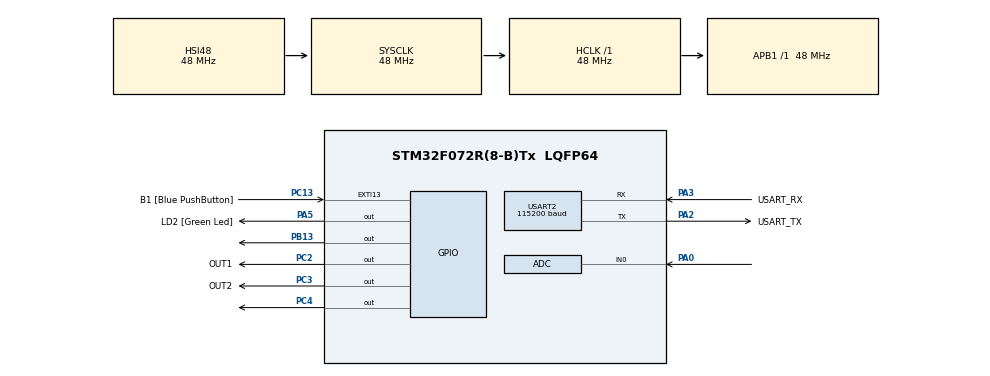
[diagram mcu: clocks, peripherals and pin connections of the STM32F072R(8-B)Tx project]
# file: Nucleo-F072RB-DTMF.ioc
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ADC.ClockPrescaler=ADC_CLOCK_ASYNC_DIV1
ADC.ContinuousConvMode=ENABLE
ADC.DMAContinuousRequests=ENABLE
ADC.DataAlign=ADC_DATAALIGN_RIGHT
ADC.DiscontinuousConvMode=DISABLE
ADC.EOCSelection=ADC_EOC_SINGLE_CONV
ADC.EnableAnalogWatchDog=false
ADC.ExternalTrigConv=ADC_SOFTWARE_START
ADC.ExternalTrigConvEdge=ADC_EXTERNALTRIGCONVEDGE_NONE
ADC.LowPowerAutoPowerOff=DISABLE
ADC.LowPowerAutoWait=DISABLE
ADC.Overrun=ADC_OVR_DATA_OVERWRITTEN
ADC.Resolution=ADC_RESOLUTION_12B
ADC.SamplingTime=ADC_SAMPLETIME_71CYCLES_5
ADC.ScanConvMode=ADC_SCAN_DIRECTION_BACKWARD
Dma.ADC.0.Direction=DMA_PERIPH_TO_MEMORY
Dma.ADC.0.Instance=DMA1_Channel1
Dma.ADC.0.MemDataAlignment=DMA_MDATAALIGN_HALFWORD
Dma.ADC.0.MemInc=DMA_MINC_ENABLE
Dma.ADC.0.Mode=DMA_CIRCULAR
Dma.ADC.0.PeriphDataAlignment=DMA_PDATAALIGN_HALFWORD
Dma.ADC.0.PeriphInc=DMA_PINC_DISABLE
Dma.ADC.0.Priority=DMA_PRIORITY_HIGH
Dma.Request0=ADC
Mcu.Family=STM32F0
Mcu.Name=STM32F072R(8-B)Tx
Mcu.Package=LQFP64
NVIC.DMA1_Channel1_IRQn=true\:0\:0\:false\:false\:true\:false
NVIC.TIM7_IRQn=true\:0\:0\:false\:false\:true\:true
PA0.Mode=IN0
PA0.Signal=ADC_IN0
PA13.GPIO_Label=TMS
PA13.Mode=Serial_Wire
PA13.Signal=SYS_SWDIO
PA14.GPIO_Label=TCK
PA14.Mode=Serial_Wire
PA14.Signal=SYS_SWCLK
PA2.GPIO_Label=USART_TX
PA2.GPIO_Mode=GPIO_MODE_AF_PP
PA2.GPIO_PuPd=GPIO_NOPULL
PA2.GPIO_Speed=GPIO_SPEED_FREQ_LOW
PA2.Mode=Asynchronous
PA2.Signal=USART2_TX
PA3.GPIO_Label=USART_RX
PA3.GPIO_Mode=GPIO_MODE_AF_PP
PA3.GPIO_PuPd=GPIO_NOPULL
PA3.GPIO_Speed=GPIO_SPEED_FREQ_LOW
PA3.Mode=Asynchronous
PA3.Signal=USART2_RX
PA5.GPIO_Label=LD2 [Green Led]
PA5.GPIO_Mode=GPIO_MODE_OUTPUT_PP
PA5.GPIO_PuPd=GPIO_NOPULL
PA5.GPIO_Speed=GPIO_SPEED_FREQ_LOW
PA5.Signal=GPIO_Output
PB13.Signal=GPIO_Output
PC13.GPIO_Label=B1 [Blue PushButton]
PC13.GPIO_ModeDefaultEXTI=GPIO_MODE_IT_FALLING
PC13.Signal=GPXTI13
PC14-OSC32_IN.Mode=LSE-External-Oscillator
PC14-OSC32_IN.Signal=RCC_OSC32_IN
PC15-OSC32_OUT.Mode=LSE-External-Oscillator
PC15-OSC32_OUT.Signal=RCC_OSC32_OUT
PC2.GPIO_Label=OUT1
PC2.GPIO_ModeDefaultOutputPP=GPIO_MODE_OUTPUT_OD
PC2.PinState=GPIO_PIN_SET
PC2.Signal=GPIO_Output
PC3.GPIO_Label=OUT2
PC3.GPIO_ModeDefaultOutputPP=GPIO_MODE_OUTPUT_OD
PC3.PinState=GPIO_PIN_SET
PC3.Signal=GPIO_Output
PC4.Signal=GPIO_Output
PF0-OSC_IN.Mode=HSE-External-Clock-Source
PF0-OSC_IN.Signal=RCC_OSC_IN
PF1-OSC_OUT.Signal=RCC_OSC_OUT
ProjectManager.HeapSize=0x200
ProjectManager.StackSize=0x400
ProjectManager.TargetToolchain=MDK-ARM V5
RCC.AHBFreq_Value=48000000
RCC.APB1Freq_Value=48000000
RCC.APB1TimFreq_Value=48000000
RCC.FLatency-AdvancedSettings=FLASH_LATENCY_1
RCC.HCLKFreq_Value=48000000
RCC.PLLDivider=RCC_PREDIV_DIV2
RCC.PLLMUL=RCC_PLL_MUL12
RCC.PREFETCH_ENABLE-AdvancedSettings=1
RCC.SYSCLKFreq_VALUE=48000000
RCC.SYSCLKSource=RCC_SYSCLKSOURCE_HSI48
TIM7.Period=999
TIM7.Prescaler=5
USART2.BaudRate=115200
USART2.VirtualMode=VM_ASYNC
USART2.VirtualMode-Asynchronous=VM_ASYNC
VP_TIM7_VS_ClockSourceINT.Mode=Enable_Timer
board=NUCLEO-F072RB

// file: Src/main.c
/**
  ******************************************************************************
  * @file           : main.c
  * @brief          : Main program body
  ******************************************************************************
  ** This notice applies to any and all portions of this file
  * that are not between comment pairs USER CODE BEGIN and
  * USER CODE END. Other portions of this file, whether
  * inserted by the user or by software development tools
  * are owned by their respective copyright owners.
  *
  * COPYRIGHT(c) 2018 STMicroelectronics
  *
  * Redistribution and use in source and binary forms, with or without modification,
  * are permitted provided that the following conditions are met:
  *   1. Redistributions of source code must retain the above copyright notice,
  *      this list of conditions and the following disclaimer.
  *   2. Redistributions in binary form must reproduce the above copyright notice,
  *      this list of conditions and the following disclaimer in the documentation
  *      and/or other materials provided with the distribution.
  *   3. Neither the name of STMicroelectronics nor the names of its contributors
  *      may be used to endorse or promote products derived from this software
  *      without specific prior written permission.
  *
  * THIS SOFTWARE IS PROVIDED BY THE COPYRIGHT HOLDERS AND CONTRIBUTORS "AS IS"
  * AND ANY EXPRESS OR IMPLIED WARRANTIES, INCLUDING, BUT NOT LIMITED TO, THE
  * IMPLIED WARRANTIES OF MERCHANTABILITY AND FITNESS FOR A PARTICULAR PURPOSE ARE
  * DISCLAIMED. IN NO EVENT SHALL THE COPYRIGHT HOLDER OR CONTRIBUTORS BE LIABLE
  * FOR ANY DIRECT, INDIRECT, INCIDENTAL, SPECIAL, EXEMPLARY, OR CONSEQUENTIAL
  * DAMAGES (INCLUDING, BUT NOT LIMITED TO, PROCUREMENT OF SUBSTITUTE GOODS OR
  * SERVICES; LOSS OF USE, DATA, OR PROFITS; OR BUSINESS INTERRUPTION) HOWEVER
  * CAUSED AND ON ANY THEORY OF LIABILITY, WHETHER IN CONTRACT, STRICT LIABILITY,
  * OR TORT (INCLUDING NEGLIGENCE OR OTHERWISE) ARISING IN ANY WAY OUT OF THE USE
  * OF THIS SOFTWARE, EVEN IF ADVISED OF THE POSSIBILITY OF SUCH DAMAGE.
  *
  ******************************************************************************
  */
#include "main.h"
#include "stm32f0xx_hal.h"

/* USER CODE BEGIN Includes */
#include <stdio.h>
#include "DTMF.h"
/* USER CODE END Includes */

ADC_HandleTypeDef hadc;
DMA_HandleTypeDef hdma_adc;

TIM_HandleTypeDef htim7;

UART_HandleTypeDef huart2;

/* USER CODE BEGIN PV */
/* Private variables ---------------------------------------------------------*/
/* Converted value declaration */

#define BUFLEN 4
volatile uint16_t aResultDMA[BUFLEN];

/*  DTMF Digit encoding */
static char DTMFchar[16] = {
  '1', '2', '3', 'A',
  '4', '5', '6', 'B',
  '7', '8', '9', 'C',
  '*', '0', '#', 'D',
};

/* USER CODE END PV */

void SystemClock_Config(void);
static void MX_GPIO_Init(void);
static void MX_DMA_Init(void);
static void MX_USART2_UART_Init(void);
static void MX_TIM7_Init(void);
static void MX_ADC_Init(void);

/* USER CODE BEGIN PFP */
/* Private function prototypes -----------------------------------------------*/

/* USER CODE END PFP */

/* USER CODE BEGIN 0 */
void actuateOutput(char dtmfcode)
{
	switch(dtmfcode){
		case '1' :
			HAL_GPIO_WritePin(OUT1_GPIO_Port, OUT1_Pin, GPIO_PIN_RESET);
			break;

		case '2' :
			HAL_GPIO_WritePin(OUT1_GPIO_Port, OUT1_Pin, GPIO_PIN_SET);
			break;

		case '4' :
			HAL_GPIO_WritePin(OUT2_GPIO_Port, OUT2_Pin, GPIO_PIN_RESET);
			break;

		case '5' :
			HAL_GPIO_WritePin(OUT2_GPIO_Port, OUT2_Pin, GPIO_PIN_SET);
			break;

		default:
			break;
	}
}
/* USER CODE END 0 */

int main(void)
{

  /* MCU Configuration----------------------------------------------------------*/

  /* Reset of all peripherals, Initializes the Flash interface and the Systick. */
  HAL_Init();

  /* Configure the system clock */
  SystemClock_Config();

  /* Initialize all configured peripherals */
  MX_GPIO_Init();
  MX_DMA_Init();
  MX_USART2_UART_Init();
  MX_TIM7_Init();
  MX_ADC_Init();
  /* USER CODE BEGIN 2 */

	printf("Welcome to DTMF decoder \r\n");

	/* Run ADC calibration */
	if(HAL_ADCEx_Calibration_Start(&hadc) != HAL_OK)
		while(1);

#ifdef USE_DMA
	/* Start ADC DMA */
	if(HAL_ADC_Start_DMA(&hadc, (uint32_t*)aResultDMA, BUFLEN) != HAL_OK)
		while(1);
#endif

	/* Start 8kHz timer */
	if(HAL_TIM_Base_Start_IT(&htim7) != HAL_OK)
		while(1);

  /* USER CODE END 2 */

  /* Infinite loop */
  while (1)
  {

  /* USER CODE BEGIN 3 */

		/* run DTMF decoder */
		if (dail1.AIindex >= dail1.AIcheck)  {
			DTMF_Detect (&dail1);
		}

		if (dail1.early)
			HAL_GPIO_WritePin(LD2_GPIO_Port, LD2_Pin, GPIO_PIN_SET);
		else
			HAL_GPIO_WritePin(LD2_GPIO_Port, LD2_Pin, GPIO_PIN_RESET);

		if (dail1.new){
			printf ("%c ", DTMFchar[dail1.digit & 0x0F]);
			actuateOutput(DTMFchar[dail1.digit & 0x0F]);
			dail1.new = 0;
		}
	}

  /* USER CODE END 3 */

}

void SystemClock_Config(void)
{

  RCC_OscInitTypeDef RCC_OscInitStruct;
  RCC_ClkInitTypeDef RCC_ClkInitStruct;
  RCC_PeriphCLKInitTypeDef PeriphClkInit;

    /**Initializes the CPU, AHB and APB busses clocks
    */
  RCC_OscInitStruct.OscillatorType = RCC_OSCILLATORTYPE_HSI14|RCC_OSCILLATORTYPE_HSI48;
  RCC_OscInitStruct.HSI48State = RCC_HSI48_ON;
  RCC_OscInitStruct.HSI14State = RCC_HSI14_ON;
  RCC_OscInitStruct.HSI14CalibrationValue = 16;
  RCC_OscInitStruct.PLL.PLLState = RCC_PLL_NONE;
  if (HAL_RCC_OscConfig(&RCC_OscInitStruct) != HAL_OK)
  {
    _Error_Handler(__FILE__, __LINE__);
  }

    /**Initializes the CPU, AHB and APB busses clocks
    */
  RCC_ClkInitStruct.ClockType = RCC_CLOCKTYPE_HCLK|RCC_CLOCKTYPE_SYSCLK
                              |RCC_CLOCKTYPE_PCLK1;
  RCC_ClkInitStruct.SYSCLKSource = RCC_SYSCLKSOURCE_HSI48;
  RCC_ClkInitStruct.AHBCLKDivider = RCC_SYSCLK_DIV1;
  RCC_ClkInitStruct.APB1CLKDivider = RCC_HCLK_DIV1;

  if (HAL_RCC_ClockConfig(&RCC_ClkInitStruct, FLASH_LATENCY_1) != HAL_OK)
  {
    _Error_Handler(__FILE__, __LINE__);
  }

  PeriphClkInit.PeriphClockSelection = RCC_PERIPHCLK_USART2;
  PeriphClkInit.Usart2ClockSelection = RCC_USART2CLKSOURCE_PCLK1;
  if (HAL_RCCEx_PeriphCLKConfig(&PeriphClkInit) != HAL_OK)
  {
    _Error_Handler(__FILE__, __LINE__);
  }

    /**Configure the Systick interrupt time
    */
  HAL_SYSTICK_Config(HAL_RCC_GetHCLKFreq()/1000);

    /**Configure the Systick
    */
  HAL_SYSTICK_CLKSourceConfig(SYSTICK_CLKSOURCE_HCLK);

  /* SysTick_IRQn interrupt configuration */
  HAL_NVIC_SetPriority(SysTick_IRQn, 0, 0);
}

/* ADC init function */
static void MX_ADC_Init(void)
{

  ADC_ChannelConfTypeDef sConfig;

    /**Configure the global features of the ADC (Clock, Resolution, Data Alignment and number of conversion)
    */
  hadc.Instance = ADC1;
  hadc.Init.ClockPrescaler = ADC_CLOCK_ASYNC_DIV1;
  hadc.Init.Resolution = ADC_RESOLUTION_12B;
  hadc.Init.DataAlign = ADC_DATAALIGN_RIGHT;
  hadc.Init.ScanConvMode = ADC_SCAN_DIRECTION_BACKWARD;
  hadc.Init.EOCSelection = ADC_EOC_SINGLE_CONV;
  hadc.Init.LowPowerAutoWait = DISABLE;
  hadc.Init.LowPowerAutoPowerOff = DISABLE;
  hadc.Init.ContinuousConvMode = ENABLE;
  hadc.Init.DiscontinuousConvMode = DISABLE;
  hadc.Init.ExternalTrigConv = ADC_SOFTWARE_START;
  hadc.Init.ExternalTrigConvEdge = ADC_EXTERNALTRIGCONVEDGE_NONE;
  hadc.Init.DMAContinuousRequests = ENABLE;
  hadc.Init.Overrun = ADC_OVR_DATA_OVERWRITTEN;
  if (HAL_ADC_Init(&hadc) != HAL_OK)
  {
    _Error_Handler(__FILE__, __LINE__);
  }

    /**Configure for the selected ADC regular channel to be converted.
    */
  sConfig.Channel = ADC_CHANNEL_0;
  sConfig.Rank = ADC_RANK_CHANNEL_NUMBER;
  sConfig.SamplingTime = ADC_SAMPLETIME_71CYCLES_5;
  if (HAL_ADC_ConfigChannel(&hadc, &sConfig) != HAL_OK)
  {
    _Error_Handler(__FILE__, __LINE__);
  }

}

/* TIM7 init function */
static void MX_TIM7_Init(void)
{

  TIM_MasterConfigTypeDef sMasterConfig;

  htim7.Instance = TIM7;
  htim7.Init.Prescaler = 5;
  htim7.Init.CounterMode = TIM_COUNTERMODE_UP;
  htim7.Init.Period = 999;
  htim7.Init.AutoReloadPreload = TIM_AUTORELOAD_PRELOAD_DISABLE;
  if (HAL_TIM_Base_Init(&htim7) != HAL_OK)
  {
    _Error_Handler(__FILE__, __LINE__);
  }

  sMasterConfig.MasterOutputTrigger = TIM_TRGO_RESET;
  sMasterConfig.MasterSlaveMode = TIM_MASTERSLAVEMODE_DISABLE;
  if (HAL_TIMEx_MasterConfigSynchronization(&htim7, &sMasterConfig) != HAL_OK)
  {
    _Error_Handler(__FILE__, __LINE__);
  }

}

/* USART2 init function */
static void MX_USART2_UART_Init(void)
{

  huart2.Instance = USART2;
  huart2.Init.BaudRate = 115200;
  huart2.Init.WordLength = UART_WORDLENGTH_8B;
  huart2.Init.StopBits = UART_STOPBITS_1;
  huart2.Init.Parity = UART_PARITY_NONE;
  huart2.Init.Mode = UART_MODE_TX_RX;
  huart2.Init.HwFlowCtl = UART_HWCONTROL_NONE;
  huart2.Init.OverSampling = UART_OVERSAMPLING_16;
  huart2.Init.OneBitSampling = UART_ONE_BIT_SAMPLE_DISABLE;
  huart2.AdvancedInit.AdvFeatureInit = UART_ADVFEATURE_NO_INIT;
  if (HAL_UART_Init(&huart2) != HAL_OK)
  {
    _Error_Handler(__FILE__, __LINE__);
  }

}

static void MX_DMA_Init(void)
{
  /* DMA controller clock enable */
  __HAL_RCC_DMA1_CLK_ENABLE();

  /* DMA interrupt init */
  /* DMA1_Channel1_IRQn interrupt configuration */
  HAL_NVIC_SetPriority(DMA1_Channel1_IRQn, 0, 0);
  HAL_NVIC_EnableIRQ(DMA1_Channel1_IRQn);

}

/** Configure pins as
        * Analog
        * Input
        * Output
        * EVENT_OUT
        * EXTI
*/
static void MX_GPIO_Init(void)
{

  GPIO_InitTypeDef GPIO_InitStruct;

  /* GPIO Ports Clock Enable */
  __HAL_RCC_GPIOC_CLK_ENABLE();
  __HAL_RCC_GPIOF_CLK_ENABLE();
  __HAL_RCC_GPIOA_CLK_ENABLE();
  __HAL_RCC_GPIOB_CLK_ENABLE();

  /*Configure GPIO pin Output Level */
  HAL_GPIO_WritePin(GPIOC, OUT1_Pin|OUT2_Pin, GPIO_PIN_SET);

  /*Configure GPIO pin Output Level */
  HAL_GPIO_WritePin(LD2_GPIO_Port, LD2_Pin, GPIO_PIN_RESET);

  /*Configure GPIO pin Output Level */
  HAL_GPIO_WritePin(GPIOC, GPIO_PIN_4, GPIO_PIN_RESET);

  /*Configure GPIO pin Output Level */
  HAL_GPIO_WritePin(GPIOB, GPIO_PIN_13, GPIO_PIN_RESET);

  /*Configure GPIO pin : B1_Pin */
  GPIO_InitStruct.Pin = B1_Pin;
  GPIO_InitStruct.Mode = GPIO_MODE_IT_FALLING;
  GPIO_InitStruct.Pull = GPIO_NOPULL;
  HAL_GPIO_Init(B1_GPIO_Port, &GPIO_InitStruct);

  /*Configure GPIO pins : OUT1_Pin OUT2_Pin */
  GPIO_InitStruct.Pin = OUT1_Pin|OUT2_Pin;
  GPIO_InitStruct.Mode = GPIO_MODE_OUTPUT_OD;
  GPIO_InitStruct.Pull = GPIO_NOPULL;
  GPIO_InitStruct.Speed = GPIO_SPEED_FREQ_LOW;
  HAL_GPIO_Init(GPIOC, &GPIO_InitStruct);

  /*Configure GPIO pin : LD2_Pin */
  GPIO_InitStruct.Pin = LD2_Pin;
  GPIO_InitStruct.Mode = GPIO_MODE_OUTPUT_PP;
  GPIO_InitStruct.Pull = GPIO_NOPULL;
  GPIO_InitStruct.Speed = GPIO_SPEED_FREQ_LOW;
  HAL_GPIO_Init(LD2_GPIO_Port, &GPIO_InitStruct);

  /*Configure GPIO pin : PC4 */
  GPIO_InitStruct.Pin = GPIO_PIN_4;
  GPIO_InitStruct.Mode = GPIO_MODE_OUTPUT_PP;
  GPIO_InitStruct.Pull = GPIO_NOPULL;
  GPIO_InitStruct.Speed = GPIO_SPEED_FREQ_LOW;
  HAL_GPIO_Init(GPIOC, &GPIO_InitStruct);

  /*Configure GPIO pin : PB13 */
  GPIO_InitStruct.Pin = GPIO_PIN_13;
  GPIO_InitStruct.Mode = GPIO_MODE_OUTPUT_PP;
  GPIO_InitStruct.Pull = GPIO_NOPULL;
  GPIO_InitStruct.Speed = GPIO_SPEED_FREQ_LOW;
  HAL_GPIO_Init(GPIOB, &GPIO_InitStruct);

}

/* USER CODE BEGIN 4 */
void HAL_TIM_PeriodElapsedCallback(TIM_HandleTypeDef *htim)
{
	int err;

#ifdef USE_DMA
	dail1.AInput[dail1.AIindex & (DTMFsz-1)] = aResultDMA[0];
#else

	err = HAL_ADC_Start(&hadc);
	if(err != HAL_OK)
		while(1);

	err = HAL_ADC_PollForConversion(&hadc, HAL_MAX_DELAY);

	dail1.AInput[dail1.AIindex & (DTMFsz-1)] = HAL_ADC_GetValue(&hadc);
	dail1.AIindex++;

	err = HAL_ADC_Stop(&hadc);
	if(err != HAL_OK)
		while(1);
#endif

	HAL_GPIO_TogglePin(GPIOC, GPIO_PIN_4);
}

int fputc(int c, FILE *stream)
{
	uint8_t data = c;

	HAL_UART_Transmit(&huart2, &data, 1, 0xffff);
	return c;
}

/* USER CODE END 4 */

void _Error_Handler(char *file, int line)
{
  while(1)
  {
  }
}

/************************ (C) COPYRIGHT STMicroelectronics *****END OF FILE****/
